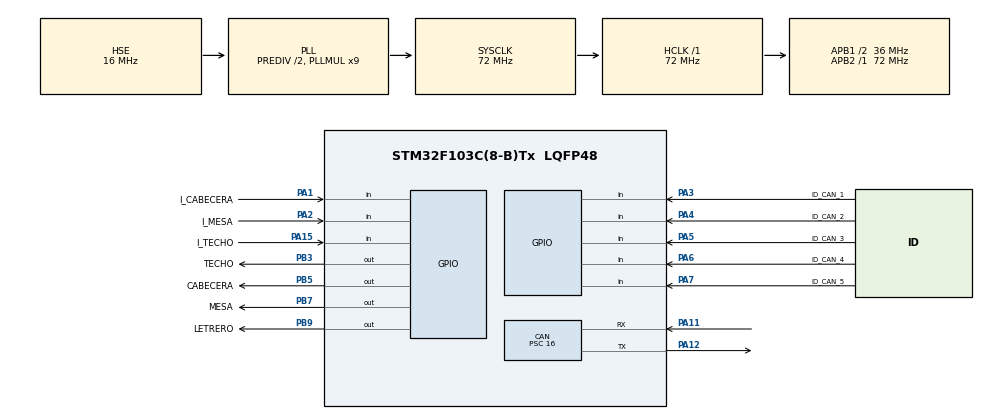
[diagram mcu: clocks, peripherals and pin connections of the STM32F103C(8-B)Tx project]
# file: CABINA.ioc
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CAN.BS1=CAN_BS1_16TQ
CAN.CalculateBaudRate=125000
CAN.CalculateTimeBit=8000
CAN.CalculateTimeQuantum=444.44444444444446
CAN.Prescaler=16
Mcu.Family=STM32F1
Mcu.Name=STM32F103C(8-B)Tx
Mcu.Package=LQFP48
NVIC.CAN1_RX1_IRQn=true\:1\:0\:true\:false\:true\:true\:true\:true
NVIC.PriorityGroup=NVIC_PRIORITYGROUP_4
NVIC.USB_LP_CAN1_RX0_IRQn=true\:1\:0\:true\:false\:true\:true\:true\:true
PA1.GPIO_Label=I_CABECERA
PA1.Signal=GPIO_Input
PA11.Mode=CAN_Activate
PA11.Signal=CAN_RX
PA12.Mode=CAN_Activate
PA12.Signal=CAN_TX
PA13.Mode=Serial_Wire
PA13.Signal=SYS_JTMS-SWDIO
PA14.Mode=Serial_Wire
PA14.Signal=SYS_JTCK-SWCLK
PA15.GPIO_Label=I_TECHO
PA15.Signal=GPIO_Input
PA2.GPIO_Label=I_MESA
PA2.Signal=GPIO_Input
PA3.GPIO_Label=ID_CAN_1
PA3.GPIO_PuPd=GPIO_PULLDOWN
PA3.Signal=GPIO_Input
PA4.GPIO_Label=ID_CAN_2
PA4.GPIO_PuPd=GPIO_PULLDOWN
PA4.Signal=GPIO_Input
PA5.GPIO_Label=ID_CAN_3
PA5.GPIO_PuPd=GPIO_PULLDOWN
PA5.Signal=GPIO_Input
PA6.GPIO_Label=ID_CAN_4
PA6.GPIO_PuPd=GPIO_PULLDOWN
PA6.Signal=GPIO_Input
PA7.GPIO_Label=ID_CAN_5
PA7.GPIO_PuPd=GPIO_PULLDOWN
PA7.Signal=GPIO_Input
PB3.GPIO_Label=TECHO
PB3.Signal=GPIO_Output
PB5.GPIO_Label=CABECERA
PB5.Signal=GPIO_Output
PB7.GPIO_Label=MESA
PB7.Signal=GPIO_Output
PB9.GPIO_Label=LETRERO
PB9.Signal=GPIO_Output
PD0-OSC_IN.Mode=HSE-External-Oscillator
PD0-OSC_IN.Signal=RCC_OSC_IN
PD1-OSC_OUT.Mode=HSE-External-Oscillator
PD1-OSC_OUT.Signal=RCC_OSC_OUT
ProjectManager.HeapSize=0x200
ProjectManager.StackSize=0x400
ProjectManager.TargetToolchain=STM32CubeIDE
RCC.ADCPresc=RCC_ADCPCLK2_DIV6
RCC.AHBFreq_Value=72000000
RCC.APB1CLKDivider=RCC_HCLK_DIV2
RCC.APB1Freq_Value=36000000
RCC.APB1TimFreq_Value=72000000
RCC.APB2Freq_Value=72000000
RCC.APB2TimFreq_Value=72000000
RCC.HCLKFreq_Value=72000000
RCC.HSEDivPLL=RCC_HSE_PREDIV_DIV2
RCC.HSE_VALUE=16000000
RCC.PLLMUL=RCC_PLL_MUL9
RCC.PLLSourceVirtual=RCC_PLLSOURCE_HSE
RCC.SYSCLKFreq_VALUE=72000000
RCC.SYSCLKSource=RCC_SYSCLKSOURCE_PLLCLK
RCC.USBFreq_Value=72000000
board=custom

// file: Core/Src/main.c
/* USER CODE BEGIN Header */
/**
  ******************************************************************************
  * @file           : main.c
  * @brief          : Main program body
  ******************************************************************************
  * @attention
  *
  * Copyright (c) 2023 STMicroelectronics.
  * All rights reserved.
  *
  * This software is licensed under terms that can be found in the LICENSE file
  * in the root directory of this software component.
  * If no LICENSE file comes with this software, it is provided AS-IS.
  *
  ******************************************************************************
  */
/* USER CODE END Header */
#include "main.h"

/* USER CODE BEGIN Includes */
#include <math.h>
/* USER CODE END Includes */

/* USER CODE BEGIN PTD */
typedef enum { false, true } bool;
/* USER CODE END PTD */

CAN_HandleTypeDef hcan;

/* USER CODE BEGIN PV */

uint8_t can_id=0;								//CAN ID

CAN_TxHeaderTypeDef TxHeader;
CAN_RxHeaderTypeDef RxHeader;
uint32_t TxMailBox;
uint8_t RxData[8];
uint8_t TxData[8];

/* USER CODE END PV */

void SystemClock_Config(void);
static void MX_GPIO_Init(void);
static void MX_CAN_Init(void);
/* USER CODE BEGIN PFP */
void init_can_id(void);
void send_ack(void);
void activar(GPIO_TypeDef *GPIO_I_Port, uint16_t GPIO_I_Pin, GPIO_TypeDef *GPIO_O_Port, uint16_t GPIO_O_Pin);
void desactivar(GPIO_TypeDef *GPIO_I_Port, uint16_t GPIO_I_Pin, GPIO_TypeDef *GPIO_O_Port, uint16_t GPIO_O_Pin);
/* USER CODE END PFP */

/* USER CODE BEGIN 0 */

/*
 * TOPICOS MQTT
 */

/*
 * ADC CHANNELS
 * LUZ CABECERA ANALOG = CHANNEL 7
 * LUZ MESA ANALOG = CHANNEL 8
 * LUZ TECHO ANALOG = CHANNEL 9
 */

void HAL_CAN_RxFifo0MsgPendingCallback(CAN_HandleTypeDef *hcan){
	HAL_CAN_GetRxMessage(hcan, CAN_RX_FIFO0, &RxHeader, RxData);

	//send_ack();			//ENVIANDO MENSAJE AL MB CONFIRMANDO QUE LLEGO EL MENSAJE OK

	/*
	 * INGRESO: PRENDE LUZ TECHO Y LUZ DE NUMERO DE CABINA
	 */
	if(RxData[1] == 0x01){
		if(RxData[0]==0x01){
			activar(I_TECHO_GPIO_Port, I_TECHO_Pin, TECHO_GPIO_Port, TECHO_Pin);
			desactivar(I_MESA_GPIO_Port, I_MESA_Pin, MESA_GPIO_Port, MESA_Pin);
			desactivar(I_CABECERA_GPIO_Port, I_CABECERA_Pin, CABECERA_GPIO_Port, CABECERA_Pin);
			HAL_GPIO_WritePin(LETRERO_GPIO_Port, LETRERO_Pin, GPIO_PIN_SET);
		}

		send_ack();
	}

	/*
	 * APAGADO: APAGAR TODA LAS LUCES
	 */
	else if(RxData[1] == 0x02){
		if(RxData[0]==0x01){
			desactivar(I_TECHO_GPIO_Port, I_TECHO_Pin, TECHO_GPIO_Port, TECHO_Pin);
			desactivar(I_MESA_GPIO_Port, I_MESA_Pin, MESA_GPIO_Port, MESA_Pin);
			desactivar(I_CABECERA_GPIO_Port, I_CABECERA_Pin, CABECERA_GPIO_Port, CABECERA_Pin);
			HAL_GPIO_WritePin(LETRERO_GPIO_Port, LETRERO_Pin, GPIO_PIN_RESET);
		}

		send_ack();
	}

	/*
	 * LUZ-TECHO: MANERA MANUAL DE PRENDER Y APAGAR LA LUZ DEL TECHO
	 */
	else if(RxData[1] == 0x04){
		if(RxData[0]==0x01){
			activar(I_TECHO_GPIO_Port, I_TECHO_Pin, TECHO_GPIO_Port, TECHO_Pin);
		}
		else if(RxData[0]==0x00){
			desactivar(I_TECHO_GPIO_Port, I_TECHO_Pin, TECHO_GPIO_Port, TECHO_Pin);
		}

		send_ack();
	}

	/*
	 * LUZ-CABECERA: MANERA MANUAL DE PRENDER Y APAGAR LA LUZ DE LA CABECERA
	 */
	else if(RxData[1] == 0x05){
		if(RxData[0]==0x01){
			activar(I_CABECERA_GPIO_Port, I_CABECERA_Pin, CABECERA_GPIO_Port, CABECERA_Pin);
		}
		else if(RxData[0]==0x00){
			desactivar(I_CABECERA_GPIO_Port, I_CABECERA_Pin, CABECERA_GPIO_Port, CABECERA_Pin);
		}

		send_ack();
	}

	/*
	 * LUZ-MESA: MANERA MANUAL DE PRENDER Y APAGAR LA LUZ DE LA MESA
	 */
	else if(RxData[1] == 0x06){
		if(RxData[0]==0x01){
			activar(I_MESA_GPIO_Port, I_MESA_Pin, MESA_GPIO_Port, MESA_Pin);
		}
		else if(RxData[0]==0x00){
			desactivar(I_MESA_GPIO_Port, I_MESA_Pin, MESA_GPIO_Port, MESA_Pin);
		}

		send_ack();
	}

	/*
	 * LUZ-NCABINA: MANERA MANUAL DE PRENDER Y APAGAR LA LUZ DEL INDICADOR DEL NUMERO DE CABINA
	 */
	else if(RxData[1] == 0x07){
		if(RxData[0]==0x01){
			HAL_GPIO_WritePin(LETRERO_GPIO_Port, LETRERO_Pin, GPIO_PIN_SET);
		}
		else if(RxData[0]==0x00){
			HAL_GPIO_WritePin(LETRERO_GPIO_Port, LETRERO_Pin, GPIO_PIN_RESET);
		}

		send_ack();
	}
}

/* USER CODE END 0 */

int main(void)
{

  /* MCU Configuration--------------------------------------------------------*/

  /* Reset of all peripherals, Initializes the Flash interface and the Systick. */
  HAL_Init();

  /* Configure the system clock */
  SystemClock_Config();

  /* Initialize all configured peripherals */
  MX_GPIO_Init();
  MX_CAN_Init();
  /* USER CODE BEGIN 2 */
  init_can_id();
  MX_CAN_Init();

  HAL_CAN_Start(&hcan);
  HAL_CAN_ActivateNotification(&hcan, CAN_IT_RX_FIFO0_MSG_PENDING);

  /* USER CODE END 2 */

  /* Infinite loop */
  while (1)
  {

  }
}

void SystemClock_Config(void)
{
  RCC_OscInitTypeDef RCC_OscInitStruct = {0};
  RCC_ClkInitTypeDef RCC_ClkInitStruct = {0};

  /** Initializes the RCC Oscillators according to the specified parameters
  * in the RCC_OscInitTypeDef structure.
  */
  RCC_OscInitStruct.OscillatorType = RCC_OSCILLATORTYPE_HSE;
  RCC_OscInitStruct.HSEState = RCC_HSE_ON;
  RCC_OscInitStruct.HSEPredivValue = RCC_HSE_PREDIV_DIV2;
  RCC_OscInitStruct.HSIState = RCC_HSI_ON;
  RCC_OscInitStruct.PLL.PLLState = RCC_PLL_ON;
  RCC_OscInitStruct.PLL.PLLSource = RCC_PLLSOURCE_HSE;
  RCC_OscInitStruct.PLL.PLLMUL = RCC_PLL_MUL9;
  if (HAL_RCC_OscConfig(&RCC_OscInitStruct) != HAL_OK)
  {
    Error_Handler();
  }

  /** Initializes the CPU, AHB and APB buses clocks
  */
  RCC_ClkInitStruct.ClockType = RCC_CLOCKTYPE_HCLK|RCC_CLOCKTYPE_SYSCLK
                              |RCC_CLOCKTYPE_PCLK1|RCC_CLOCKTYPE_PCLK2;
  RCC_ClkInitStruct.SYSCLKSource = RCC_SYSCLKSOURCE_PLLCLK;
  RCC_ClkInitStruct.AHBCLKDivider = RCC_SYSCLK_DIV1;
  RCC_ClkInitStruct.APB1CLKDivider = RCC_HCLK_DIV2;
  RCC_ClkInitStruct.APB2CLKDivider = RCC_HCLK_DIV1;

  if (HAL_RCC_ClockConfig(&RCC_ClkInitStruct, FLASH_LATENCY_2) != HAL_OK)
  {
    Error_Handler();
  }
}

static void MX_CAN_Init(void)
{

  hcan.Instance = CAN1;
  hcan.Init.Prescaler = 16;
  hcan.Init.Mode = CAN_MODE_NORMAL;
  hcan.Init.SyncJumpWidth = CAN_SJW_1TQ;
  hcan.Init.TimeSeg1 = CAN_BS1_16TQ;
  hcan.Init.TimeSeg2 = CAN_BS2_1TQ;
  hcan.Init.TimeTriggeredMode = DISABLE;
  hcan.Init.AutoBusOff = DISABLE;
  hcan.Init.AutoWakeUp = DISABLE;
  hcan.Init.AutoRetransmission = DISABLE;
  hcan.Init.ReceiveFifoLocked = DISABLE;
  hcan.Init.TransmitFifoPriority = DISABLE;
  if (HAL_CAN_Init(&hcan) != HAL_OK)
  {
    Error_Handler();
  }
  /* USER CODE BEGIN CAN_Init 2 */
  CAN_FilterTypeDef canfilterconfig;
  canfilterconfig.FilterActivation = CAN_FILTER_ENABLE;
  canfilterconfig.FilterBank = 10;
  canfilterconfig.FilterFIFOAssignment = CAN_RX_FIFO0;
  canfilterconfig.FilterIdHigh = can_id<<5;
  //canfilterconfig.FilterIdHigh = 0;
  canfilterconfig.FilterIdLow = 0x0000;
  canfilterconfig.FilterMaskIdHigh = 0x7FF<<5;
  //canfilterconfig.FilterMaskIdHigh = 0;
  canfilterconfig.FilterMaskIdLow = 0x0000 ;
  canfilterconfig.FilterMode = CAN_FILTERMODE_IDMASK;
  canfilterconfig.FilterScale = CAN_FILTERSCALE_32BIT;
  canfilterconfig.SlaveStartFilterBank = 0;

  HAL_CAN_ConfigFilter(&hcan, &canfilterconfig);
  /* USER CODE END CAN_Init 2 */

}

static void MX_GPIO_Init(void)
{
  GPIO_InitTypeDef GPIO_InitStruct = {0};

  /* GPIO Ports Clock Enable */
  __HAL_RCC_GPIOD_CLK_ENABLE();
  __HAL_RCC_GPIOA_CLK_ENABLE();
  __HAL_RCC_GPIOB_CLK_ENABLE();

  /*Configure GPIO pin Output Level */
  HAL_GPIO_WritePin(GPIOB, TECHO_Pin|CABECERA_Pin|MESA_Pin|LETRERO_Pin, GPIO_PIN_RESET);

  /*Configure GPIO pins : I_CABECERA_Pin I_MESA_Pin I_TECHO_Pin */
  GPIO_InitStruct.Pin = I_CABECERA_Pin|I_MESA_Pin|I_TECHO_Pin;
  GPIO_InitStruct.Mode = GPIO_MODE_INPUT;
  GPIO_InitStruct.Pull = GPIO_NOPULL;
  HAL_GPIO_Init(GPIOA, &GPIO_InitStruct);

  /*Configure GPIO pins : ID_CAN_1_Pin ID_CAN_2_Pin ID_CAN_3_Pin ID_CAN_4_Pin
                           ID_CAN_5_Pin */
  GPIO_InitStruct.Pin = ID_CAN_1_Pin|ID_CAN_2_Pin|ID_CAN_3_Pin|ID_CAN_4_Pin
                          |ID_CAN_5_Pin;
  GPIO_InitStruct.Mode = GPIO_MODE_INPUT;
  GPIO_InitStruct.Pull = GPIO_PULLDOWN;
  HAL_GPIO_Init(GPIOA, &GPIO_InitStruct);

  /*Configure GPIO pins : TECHO_Pin CABECERA_Pin MESA_Pin LETRERO_Pin */
  GPIO_InitStruct.Pin = TECHO_Pin|CABECERA_Pin|MESA_Pin|LETRERO_Pin;
  GPIO_InitStruct.Mode = GPIO_MODE_OUTPUT_PP;
  GPIO_InitStruct.Pull = GPIO_NOPULL;
  GPIO_InitStruct.Speed = GPIO_SPEED_FREQ_LOW;
  HAL_GPIO_Init(GPIOB, &GPIO_InitStruct);

}

/* USER CODE BEGIN 4 */

/*
 * MENSAJE ACK AL MOTHERBOARD
 */

void send_ack(void){
	TxHeader.DLC = 2;
	TxHeader.ExtId = 0;
	TxHeader.IDE = CAN_ID_STD;
	TxHeader.RTR = CAN_RTR_DATA;
	TxHeader.StdId = 0x1B;							//MB ID_CAN
	TxHeader.TransmitGlobalTime = DISABLE;

	TxData[0] = 0x09;
	TxData[1] = can_id;

	HAL_CAN_AddTxMessage(&hcan, &TxHeader, TxData, &TxMailBox);
}

/*
 * PRENDER LA LUZ
 */

void activar(GPIO_TypeDef *GPIO_I_Port, uint16_t GPIO_I_Pin, GPIO_TypeDef *GPIO_O_Port, uint16_t GPIO_O_Pin){
	if (HAL_GPIO_ReadPin(GPIO_I_Port, GPIO_I_Pin)) return;
	else{
		HAL_GPIO_WritePin(GPIO_O_Port, GPIO_O_Pin, GPIO_PIN_SET);
		HAL_Delay(10);
		if (HAL_GPIO_ReadPin(GPIO_I_Port, GPIO_I_Pin)) return;
		HAL_GPIO_WritePin(GPIO_O_Port, GPIO_O_Pin, GPIO_PIN_RESET);
		HAL_Delay(10);
		if (HAL_GPIO_ReadPin(GPIO_I_Port, GPIO_I_Pin)) return;
	}
}

/*
 * APAGAR LA LUZ
 */

void desactivar(GPIO_TypeDef *GPIO_I_Port, uint16_t GPIO_I_Pin, GPIO_TypeDef *GPIO_O_Port, uint16_t GPIO_O_Pin){
	if (!HAL_GPIO_ReadPin(GPIO_I_Port, GPIO_I_Pin)) return;
	else{
		HAL_GPIO_WritePin(GPIO_O_Port, GPIO_O_Pin, GPIO_PIN_SET);
		HAL_Delay(10);
		if (!HAL_GPIO_ReadPin(GPIO_I_Port, GPIO_I_Pin)) return;
		HAL_GPIO_WritePin(GPIO_O_Port, GPIO_O_Pin, GPIO_PIN_RESET);
		HAL_Delay(10);
		if (!HAL_GPIO_ReadPin(GPIO_I_Port, GPIO_I_Pin)) return;
	}
}

/*
 * INICIALIZACION DEL CAN ID
 */
void init_can_id(void){
	if(HAL_GPIO_ReadPin(ID_CAN_1_GPIO_Port, ID_CAN_1_Pin))	can_id += pow(2,0);
	else can_id += 0;
	if(HAL_GPIO_ReadPin(ID_CAN_2_GPIO_Port, ID_CAN_2_Pin))	can_id += pow(2,1);
	else can_id += 0;
	if(HAL_GPIO_ReadPin(ID_CAN_3_GPIO_Port, ID_CAN_3_Pin))	can_id += pow(2,2);
	else can_id += 0;
	if(HAL_GPIO_ReadPin(ID_CAN_4_GPIO_Port, ID_CAN_4_Pin))	can_id += pow(2,3);
	else can_id += 0;
	if(HAL_GPIO_ReadPin(ID_CAN_5_GPIO_Port, ID_CAN_5_Pin))	can_id += pow(2,4);
	else can_id += 0;
}
/* USER CODE END 4 */

void Error_Handler(void)
{
  __disable_irq();
  while (1)
  {
  }
}
